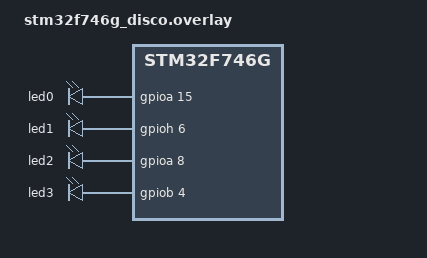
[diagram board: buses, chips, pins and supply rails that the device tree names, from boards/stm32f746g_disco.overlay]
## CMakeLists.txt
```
# Minimum CMake version
cmake_minimum_required(VERSION 3.20.0)

# Locate the Zephyr RTOS source
find_package(Zephyr REQUIRED HINTS $ENV{ZEPHYR_BASE})

# Name the project
project(demo)

target_include_directories(app PRIVATE ${ZEPHYR_BASE}/include/zephyr/portability)

add_subdirectory(lib/led)

# Locate the source code for the application
file(GLOB_RECURSE APP_SOURCES 
    "src/*.c"
    "src/*.s"
)
target_sources(app PRIVATE ${APP_SOURCES})

# Link the library to the application
target_link_libraries(app PRIVATE
    led
)
```

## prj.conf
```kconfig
CONFIG_PRINTK=y

CONFIG_GPIO=y

CONFIG_SERIAL=y
CONFIG_CONSOLE=y
CONFIG_UART_CONSOLE=y
CONFIG_STDOUT_CONSOLE=y

CONFIG_ASSERT=y
CONFIG_ASSERT_LEVEL=2
CONFIG_CMSIS_RTOS_V2=y
CONFIG_NUM_PREEMPT_PRIORITIES=56
CONFIG_HEAP_MEM_POOL_SIZE=256
CONFIG_THREAD_NAME=y
CONFIG_THREAD_STACK_INFO=y
CONFIG_THREAD_MONITOR=y
CONFIG_INIT_STACKS=y
CONFIG_POLL=y
CONFIG_SCHED_SCALABLE=y
CONFIG_SYS_CLOCK_TICKS_PER_SEC=1000
CONFIG_CMSIS_V2_THREAD_MAX_STACK_SIZE=2048
CONFIG_CMSIS_V2_THREAD_DYNAMIC_STACK_SIZE=2048
```

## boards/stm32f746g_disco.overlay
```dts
/ {
    aliases {
        led0 = &led0;
        led1 = &led1;
        led2 = &led2;
        led3 = &led3;
    };

    leds {
        compatible = "gpio-leds";
        led0: pa15 {
            gpios = <&gpioa 15 GPIO_ACTIVE_HIGH>;
        };
        led1: ph6 {
            gpios = <&gpioh 6 GPIO_ACTIVE_HIGH>;
        };
        led2: pa8 {
            gpios = <&gpioa 8 GPIO_ACTIVE_HIGH>;
        };
        led3: pb4 {
            gpios = <&gpiob 4 GPIO_ACTIVE_HIGH>;
        };
    };
};
```

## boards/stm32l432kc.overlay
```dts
/ {
    aliases {
        led0 = &led0;
    };

    leds {
        compatible = "gpio-leds";
        led0: pb3 {
            gpios = <&gpiob 3 GPIO_ACTIVE_HIGH>;
        };
    };
};
```

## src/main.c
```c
#include <stdio.h>
#include <zephyr/kernel.h>
#include <zephyr/drivers/gpio.h>
#include <cmsis_os2.h>

#include "led.h"


#define STACK_SIZE CONFIG_CMSIS_V2_THREAD_MAX_STACK_SIZE
static K_THREAD_STACK_ARRAY_DEFINE(stacks, 2, STACK_SIZE);

extern int custom_adder(int a, int b);

static osThreadAttr_t thread_attr[] = {
    {
        .name = "Thread 1",
        .stack_mem = &stacks[0][0],
        .stack_size = STACK_SIZE,
        .priority = osPriorityNormal
    },
    {
        .name = "Thread 2",
        .stack_mem = &stacks[1][0],
        .stack_size = STACK_SIZE,
        .priority = osPriorityNormal
    }
};

osMutexId_t mutex_total;
volatile int total = 0;

void blink(void* led) {
    init_led((struct gpio_dt_spec*)led);

    for(;;) {
        osMutexAcquire (mutex_total, osWaitForever);
        osMutexAcquire (mutex_total, osWaitForever);
        total = custom_adder(total, 1);
        osMutexRelease(mutex_total);
        int ret = gpio_pin_toggle_dt(led);
        if (ret < 0) {
            return;
        }
        osDelay(1000);
    }

}

int main(void) {
    
    mutex_total = osMutexNew(NULL);

	osThreadNew(blink, (void*)&led0, &thread_attr[0]);
    osDelay(500);
	osThreadNew(blink, (void*)&led1, &thread_attr[1]);
    
    
	return 0;
}
```
